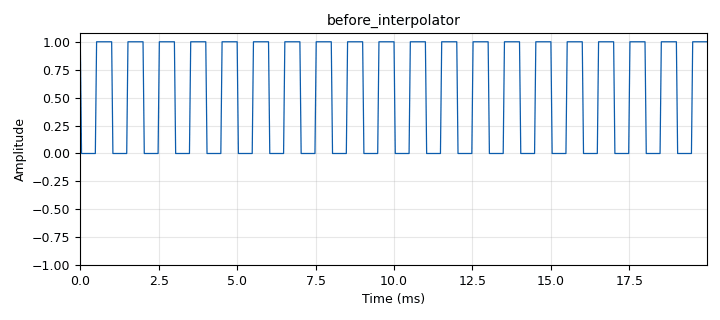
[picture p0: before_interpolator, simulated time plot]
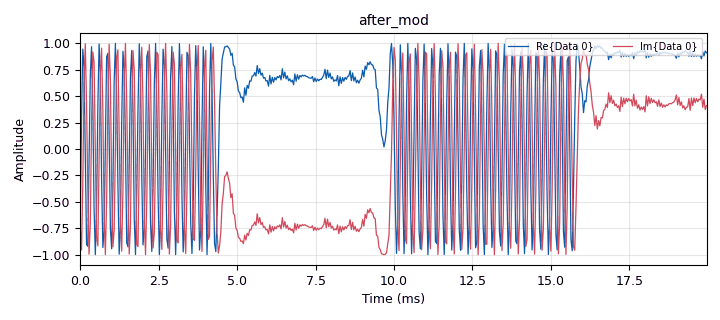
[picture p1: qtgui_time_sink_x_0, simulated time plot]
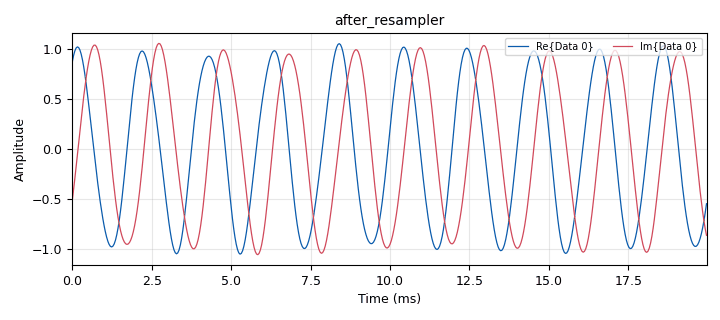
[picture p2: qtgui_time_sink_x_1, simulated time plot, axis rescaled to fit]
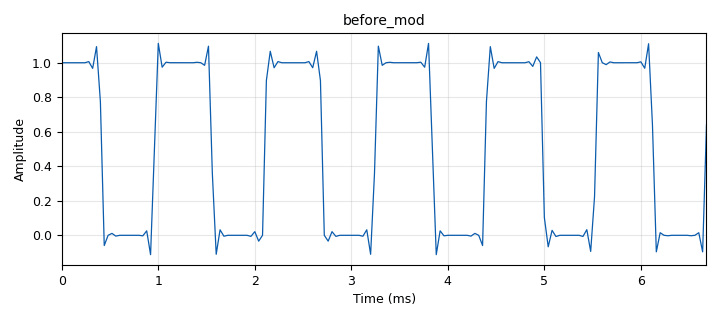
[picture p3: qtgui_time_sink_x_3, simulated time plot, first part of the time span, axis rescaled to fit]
<?xml version='1.0' encoding='utf-8'?>
<?grc format='1' created='3.7.9'?>
<flow_graph>
<block>
<key>options</key>
<param><key>id</key><value>top_block</value></param>
<param><key>generate_options</key><value>qt_gui</value></param>
</block>
<block>
<key>variable</key>
<param><key>id</key><value>samp_rate</value></param>
<param><key>value</key><value>25e3</value></param>
</block>
<block>
<key>analog_sig_source_x</key>
<param><key>id</key><value>analog_sig_source_x_0</value></param>
<param><key>amp</key><value>1</value></param>
<param><key>freq</key><value>1000</value></param>
<param><key>offset</key><value>0</value></param>
<param><key>type</key><value>float</value></param>
<param><key>samp_rate</key><value>samp_rate</value></param>
<param><key>waveform</key><value>analog.GR_SQR_WAVE</value></param>
</block>
<block>
<key>analog_wfm_tx</key>
<param><key>id</key><value>analog_wfm_tx_0</value></param>
<param><key>audio_rate</key><value>int(32e3)</value></param>
<param><key>max_dev</key><value>50e3</value></param>
<param><key>quad_rate</key><value>int(320e3)</value></param>
<param><key>tau</key><value>3e-6</value></param>
</block>
<block>
<key>qtgui_time_sink_x</key>
<param><key>id</key><value>before_interpolator</value></param>
<param><key>color1</key><value>"blue"</value></param>
<param><key>label1</key><value></value></param>
<param><key>name</key><value>before_interpolator</value></param>
<param><key>size</key><value>500</value></param>
<param><key>srate</key><value>samp_rate</value></param>
<param><key>type</key><value>float</value></param>
</block>
<block>
<key>fractional_interpolator_xx</key>
<param><key>id</key><value>fractional_interpolator_xx_0</value></param>
<param><key>interp_ratio</key><value>0.875</value></param>
<param><key>phase_shift</key><value>1</value></param>
<param><key>type</key><value>float</value></param>
</block>
<block>
<key>osmosdr_sink</key>
<param><key>id</key><value>osmosdr_sink_0</value></param>
<param><key>bb_gain0</key><value>30</value></param>
<param><key>bw0</key><value>250e3</value></param>
<param><key>corr0</key><value>6</value></param>
<param><key>freq0</key><value>1000e6</value></param>
<param><key>if_gain0</key><value>40</value></param>
<param><key>gain0</key><value>0</value></param>
<param><key>args</key><value></value></param>
<param><key>type</key><value>fc32</value></param>
<param><key>sample_rate</key><value>1e6</value></param>
<param><key>sync</key><value></value></param>
</block>
<block>
<key>qtgui_time_sink_x</key>
<param><key>id</key><value>qtgui_time_sink_x_0</value></param>
<param><key>autoscale</key><value>True</value></param>
<param><key>color1</key><value>"blue"</value></param>
<param><key>label1</key><value></value></param>
<param><key>color2</key><value>"red"</value></param>
<param><key>label2</key><value></value></param>
<param><key>name</key><value>after_mod</value></param>
<param><key>size</key><value>500</value></param>
<param><key>srate</key><value>samp_rate</value></param>
<param><key>type</key><value>complex</value></param>
</block>
<block>
<key>qtgui_time_sink_x</key>
<param><key>id</key><value>qtgui_time_sink_x_1</value></param>
<param><key>color1</key><value>"blue"</value></param>
<param><key>label1</key><value></value></param>
<param><key>color2</key><value>"red"</value></param>
<param><key>label2</key><value></value></param>
<param><key>name</key><value>after_resampler</value></param>
<param><key>size</key><value>500</value></param>
<param><key>srate</key><value>samp_rate</value></param>
<param><key>type</key><value>complex</value></param>
</block>
<block>
<key>qtgui_time_sink_x</key>
<param><key>id</key><value>qtgui_time_sink_x_3</value></param>
<param><key>color1</key><value>"blue"</value></param>
<param><key>label1</key><value></value></param>
<param><key>name</key><value>before_mod</value></param>
<param><key>size</key><value>500</value></param>
<param><key>srate</key><value>samp_rate</value></param>
<param><key>type</key><value>float</value></param>
</block>
<block>
<key>rational_resampler_xxx</key>
<param><key>id</key><value>rational_resampler_xxx_0</value></param>
<param><key>decim</key><value>1</value></param>
<param><key>interp</key><value>8</value></param>
<param><key>taps</key><value></value></param>
<param><key>type</key><value>ccc</value></param>
</block>
<connection><source_block_id>analog_sig_source_x_0</source_block_id><sink_block_id>before_interpolator</sink_block_id><source_key>0</source_key><sink_key>0</sink_key></connection>
<connection><source_block_id>analog_sig_source_x_0</source_block_id><sink_block_id>fractional_interpolator_xx_0</sink_block_id><source_key>0</source_key><sink_key>0</sink_key></connection>
<connection><source_block_id>analog_wfm_tx_0</source_block_id><sink_block_id>qtgui_time_sink_x_0</sink_block_id><source_key>0</source_key><sink_key>0</sink_key></connection>
<connection><source_block_id>analog_wfm_tx_0</source_block_id><sink_block_id>rational_resampler_xxx_0</sink_block_id><source_key>0</source_key><sink_key>0</sink_key></connection>
<connection><source_block_id>fractional_interpolator_xx_0</source_block_id><sink_block_id>analog_wfm_tx_0</sink_block_id><source_key>0</source_key><sink_key>0</sink_key></connection>
<connection><source_block_id>fractional_interpolator_xx_0</source_block_id><sink_block_id>qtgui_time_sink_x_3</sink_block_id><source_key>0</source_key><sink_key>0</sink_key></connection>
<connection><source_block_id>rational_resampler_xxx_0</source_block_id><sink_block_id>osmosdr_sink_0</sink_block_id><source_key>0</source_key><sink_key>0</sink_key></connection>
<connection><source_block_id>rational_resampler_xxx_0</source_block_id><sink_block_id>qtgui_time_sink_x_1</sink_block_id><source_key>0</source_key><sink_key>0</sink_key></connection>
</flow_graph>
